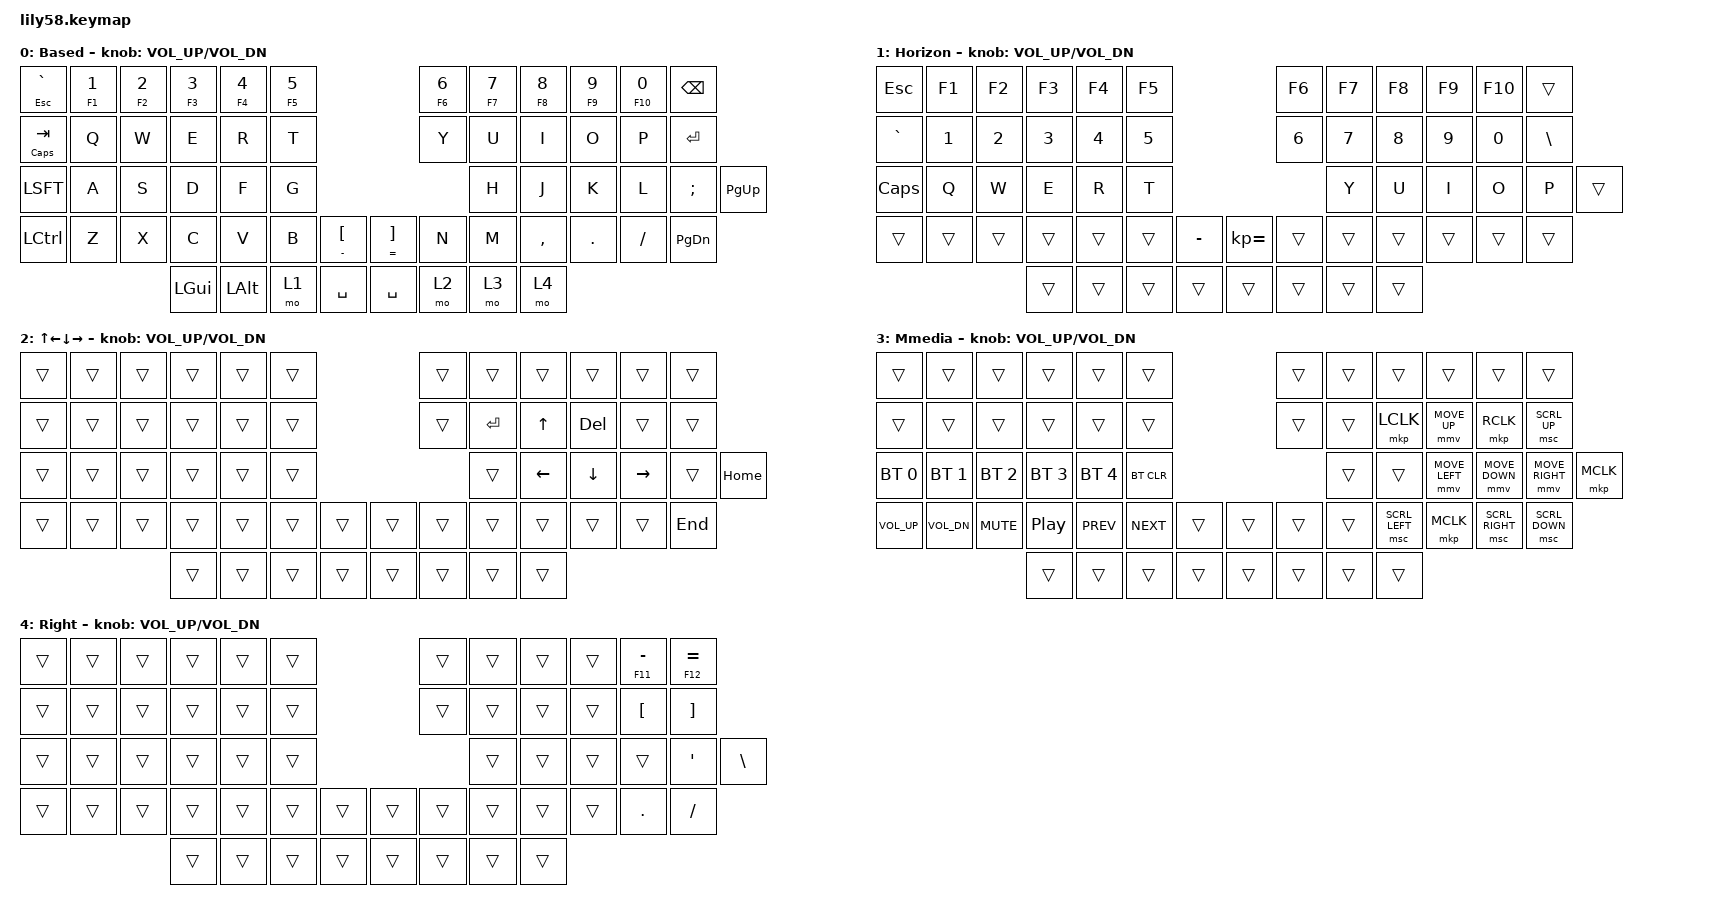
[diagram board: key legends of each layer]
/*
 * Copyright (c) 2020 The ZMK Contributors
 *
 * SPDX-License-Identifier: MIT
 */

#include <behaviors.dtsi>
#include <dt-bindings/zmk/keys.h>
#include <dt-bindings/zmk/bt.h>
#include <dt-bindings/zmk/ext_power.h>
#include <dt-bindings/zmk/pointing.h>

/ {
    behaviors {
        ht_grv_esc: hold_tap_grv_esc {
            compatible = "zmk,behavior-hold-tap";
            label = "HOLD_TAP_GRV_ESC";
            #binding-cells = <2>;
            flavor = "tap-preferred";
            tapping-term-ms = <200>;
            quick-tap-ms = <150>;
            bindings = <&kp>, <&kp>;
        };

        ht_1_f1: hold_tap_1_f1 {
            compatible = "zmk,behavior-hold-tap";
            label = "HOLD_TAP_1_F1";
            #binding-cells = <2>;
            flavor = "tap-preferred";
            tapping-term-ms = <200>;
            quick-tap-ms = <150>;
            bindings = <&kp>, <&kp>;
        };
        
        ht_2_f2: hold_tap_2_f2 {
            compatible = "zmk,behavior-hold-tap";
            label = "HOLD_TAP_2_F2";
            #binding-cells = <2>;
            flavor = "tap-preferred";
            tapping-term-ms = <200>;
            quick-tap-ms = <150>;
            bindings = <&kp>, <&kp>;
        };
        
        ht_3_f3: hold_tap_3_f3 {
            compatible = "zmk,behavior-hold-tap";
            label = "HOLD_TAP_3_F3";
            #binding-cells = <2>;
            flavor = "tap-preferred";
            tapping-term-ms = <200>;
            quick-tap-ms = <150>;
            bindings = <&kp>, <&kp>;
        };
        
        ht_4_f4: hold_tap_4_f4 {
            compatible = "zmk,behavior-hold-tap";
            label = "HOLD_TAP_4_F4";
            #binding-cells = <2>;
            flavor = "tap-preferred";
            tapping-term-ms = <200>;
            quick-tap-ms = <150>;
            bindings = <&kp>, <&kp>;
        };
        
        ht_5_f5: hold_tap_5_f5 {
            compatible = "zmk,behavior-hold-tap";
            label = "HOLD_TAP_5_F5";
            #binding-cells = <2>;
            flavor = "tap-preferred";
            tapping-term-ms = <200>;
            quick-tap-ms = <150>;
            bindings = <&kp>, <&kp>;
        };
        
        ht_6_f6: hold_tap_6_f6 {
            compatible = "zmk,behavior-hold-tap";
            label = "HOLD_TAP_6_F6";
            #binding-cells = <2>;
            flavor = "tap-preferred";
            tapping-term-ms = <200>;
            quick-tap-ms = <150>;
            bindings = <&kp>, <&kp>;
        };
        
        ht_7_f7: hold_tap_7_f7 {
            compatible = "zmk,behavior-hold-tap";
            label = "HOLD_TAP_7_F7";
            #binding-cells = <2>;
            flavor = "tap-preferred";
            tapping-term-ms = <200>;
            quick-tap-ms = <150>;
            bindings = <&kp>, <&kp>;
        };
        
        ht_8_f8: hold_tap_8_f8 {
            compatible = "zmk,behavior-hold-tap";
            label = "HOLD_TAP_8_F8";
            #binding-cells = <2>;
            flavor = "tap-preferred";
            tapping-term-ms = <200>;
            quick-tap-ms = <150>;
            bindings = <&kp>, <&kp>;
        };
        
        ht_9_f9: hold_tap_9_f9 {
            compatible = "zmk,behavior-hold-tap";
            label = "HOLD_TAP_9_F9";
            #binding-cells = <2>;
            flavor = "tap-preferred";
            tapping-term-ms = <200>;
            quick-tap-ms = <150>;
            bindings = <&kp>, <&kp>;
        };
        
        ht_0_f10: hold_tap_0_f10 {
            compatible = "zmk,behavior-hold-tap";
            label = "HOLD_TAP_0_F10";
            #binding-cells = <2>;
            flavor = "tap-preferred";
            tapping-term-ms = <200>;
            quick-tap-ms = <150>;
            bindings = <&kp>, <&kp>;
        };
        
        ht_minus_f11: hold_tap_minus_f11 {
            compatible = "zmk,behavior-hold-tap";
            label = "HOLD_TAP_MINUS_F11";
            #binding-cells = <2>;
            flavor = "tap-preferred";
            tapping-term-ms = <200>;
            quick-tap-ms = <150>;
            bindings = <&kp>, <&kp>;
        };
        
        ht_equal_f12: hold_tap_equal_f12 {
            compatible = "zmk,behavior-hold-tap";
            label = "HOLD_TAP_EQUAL_F12";
            #binding-cells = <2>;
            flavor = "tap-preferred";
            tapping-term-ms = <200>;
            quick-tap-ms = <150>;
            bindings = <&kp>, <&kp>;
        };

        ht_tab_caps: hold_tap_tab_caps {
            compatible = "zmk,behavior-hold-tap";
            label = "HOLD_TAP_TAB_CAPS";
            #binding-cells = <2>;
            flavor = "tap-preferred";
            tapping-term-ms = <200>;
            quick-tap-ms = <150>;
            bindings = <&kp>, <&kp>;
        };

        ht_lbkt_minus: hold_tap_lbkt_minus {
            compatible = "zmk,behavior-hold-tap";
            label = "HOLD_TAP_LBKT_MINUS";
            #binding-cells = <2>;
            flavor = "tap-preferred";
            tapping-term-ms = <200>;
            quick-tap-ms = <150>;
            bindings = <&kp>, <&kp>;
        };
        
        ht_rbkt_equal: hold_tap_rbkt_equal {
            compatible = "zmk,behavior-hold-tap";
            label = "HOLD_TAP_RBKT_EQUAL";
            #binding-cells = <2>;
            flavor = "tap-preferred";
            tapping-term-ms = <200>;
            quick-tap-ms = <150>;
            bindings = <&kp>, <&kp>;
        };
    };

    keymap {
        compatible = "zmk,keymap";

        default_layer {
            display-name = "Based";
            bindings = <
            // ----------------------- LEFT HAND -------------------------------||--------------------------- RIGHT HAND ---------------------------
            // | GRV/ESC  |  1/F1  |  2/F2  |  3/F3  |  4/F4  |  5/F5  |                               |  6/F6  |  7/F7  |  8/F8  |  9/F9  | 0/F10  | BACKSPACE |
               &ht_grv_esc ESCAPE GRAVE &ht_1_f1 F1 N1 &ht_2_f2 F2 N2 &ht_3_f3 F3 N3 &ht_4_f4 F4 N4 &ht_5_f5 F5 N5                   &ht_6_f6 F6 N6 &ht_7_f7 F7 N7 &ht_8_f8 F8 N8 &ht_9_f9 F9 N9 &ht_0_f10 F10 N0 &kp BSPC

            // | TAB/CAPS |   Q    |   W    |   E    |   R    |   T    |                               |   Y    |   U    |   I    |   O    |   P    |   ENTER   |
               &ht_tab_caps CAPS TAB &kp Q  &kp W    &kp E    &kp R    &kp T                           &kp Y    &kp U    &kp I    &kp O    &kp P    &kp RET
        
            // |  SHIFT   |   A    |   S    |   D    |   F    |   G    |                               |   H    |   J    |   K    |   L    |   ;    |   PG_UP   |  
               &kp LSFT   &kp A    &kp S    &kp D    &kp F    &kp G                                   &kp H    &kp J    &kp K    &kp L    &kp SEMI &kp PG_UP
        
            // |  CTRL    |   Z    |   X    |   C    |   V    |   B    |  [/-   |  ]/=   |            |   N    |   M    |   ,    |   .    |   /    |  PG_DN    |
               &kp LCTRL  &kp Z    &kp X    &kp C    &kp V    &kp B    &ht_lbkt_minus MINUS LBKT &ht_rbkt_equal EQUAL RBKT &kp N    &kp M    &kp COMMA &kp DOT &kp FSLH &kp PG_DN
        
            //                            |  LGUI  |  ALT   | HIGH   | SPACE  |     | SPACE  | RIGHT  | LAYER3 | MMEDIA |
                                         &kp LGUI &kp LALT &mo 1    &kp SPACE     &kp SPACE  &mo 2    &mo 3  &mo 4
            >;

            sensor-bindings = <&inc_dec_kp C_VOL_UP C_VOL_DN>;
        };

        layer_1 {
            display-name = "Horizon";
            bindings = <
               // ----------------------- LEFT HAND -------------------------------||--------------------------- RIGHT HAND ---------------------------
               // | ESCAPE   |   F1   |   F2   |   F3   |   F4   |   F5   |                               |   F6   |   F7   |   F8   |   F9   |   F10  |  TRANS    |
                  &kp ESCAPE &kp F1   &kp F2   &kp F3   &kp F4   &kp F5                                   &kp F6   &kp F7   &kp F8   &kp F9   &kp F10  &trans

            // | GRAVE   |   1    |   2    |   3    |   4    |   5    |                               |   6    |   7    |   8    |   9    |   0    |    \      |
               &kp GRAVE &kp N1   &kp N2   &kp N3   &kp N4   &kp N5                                   &kp N6   &kp N7   &kp N8   &kp N9   &kp N0   &kp BSLH

            // |  CAPS    |   Q    |   W    |   E    |   R    |   T    |                               |   Y    |   U    |   I    |   O    |   P    |  TRANS    |
               &kp CAPS   &kp Q    &kp W    &kp E    &kp R    &kp T                                    &kp Y    &kp U    &kp I    &kp O    &kp P   &trans

            // |  TRANS    |  TRANS   | TRANS  | TRANS  | TRANS  | TRANS  |   -    |   =    |            | TRANS  |  TRANS  |  TRANS  |   TRANS   | TRANS  |  TRANS    |
               &trans   &trans  &trans   &trans   &trans   &trans   &kp MINUS &kp KP_EQUAL           &trans   &trans  &trans  &trans  &trans  &trans

            //                              | TRANS  | TRANS  | TRANS  | TRANS  |     | TRANS  | TRANS  | TRANS  | TRANS  |
                                           &trans   &trans   &trans   &trans         &trans   &trans   &trans   &trans
            >;

            sensor-bindings = <&inc_dec_kp C_VOL_UP C_VOL_DN>;
        };

        layer_2 {
            display-name = "↑←↓→";
            bindings = <
            // ----------------------- LEFT HAND -------------------------------||--------------------------- RIGHT HAND ---------------------------
            // |  TRANS   | TRANS  | TRANS  | TRANS  | TRANS  | TRANS  |                               | TRANS  | TRANS  | TRANS  | TRANS  | TRANS  |  TRANS    |
               &trans    &trans   &trans   &trans   &trans   &trans                                    &trans   &trans   &trans   &trans   &trans   &trans

            // |  TRANS   | TRANS  | TRANS  | TRANS  | TRANS  | TRANS  |                               | TRANS  | ENTER  | UP  | DEL | TRANS |  TRANS    |
               &trans    &trans   &trans   &trans   &trans   &trans                                    &trans   &kp RET   &kp UP   &kp DEL   &trans   &trans

            // |  TRANS   | TRANS  | TRANS  | TRANS  | TRANS  | TRANS  |                               | TRANS  | LEFT  | DOWN  | RIGHT  |  TRANS   | HOME   |
               &trans    &trans   &trans   &trans   &trans   &trans                                    &trans   &kp LEFT   &kp DOWN   &kp RIGHT   &trans   &kp HOME

            // |  TRANS   | TRANS  | TRANS  | TRANS  | TRANS  | TRANS  | TRANS  | TRANS  |            | TRANS  | TRANS  | TRANS  | TRANS  | TRANS  |  END    |
               &trans    &trans   &trans   &trans   &trans   &trans   &trans   &trans                &trans   &trans   &trans   &trans   &trans   &kp END

            //                            | TRANS  | TRANS  | TRANS  | TRANS  |     | TRANS  | TRANS  | TRANS  | TRANS  |
                                         &trans   &trans   &trans   &trans         &trans   &trans   &trans   &trans
            >;

            sensor-bindings = <&inc_dec_kp C_VOL_UP C_VOL_DN>;
        };

        layer_3 {
            display-name = "Mmedia";
            bindings = <
            // ----------------------- LEFT HAND -------------------------------||--------------------------- RIGHT HAND ---------------------------
            // |  TRANS   | TRANS  | TRANS  | TRANS  | TRANS  | TRANS  |                               | TRANS  | TRANS  | TRANS  | TRANS  | TRANS  |  TRANS    |
               &trans    &trans   &trans   &trans   &trans   &trans                                    &trans   &trans   &trans   &trans   &trans   &trans

            // |  TRANS   | TRANS  | TRANS  | TRANS  | TRANS  | TRANS  |                               | TRANS  | TRANS  | LEFT CLICK  | MMOVE UP  | RIGHT CLICK  |  SCROLL UP    |
               &trans    &trans   &trans   &trans   &trans   &trans                                    &trans   &trans   &mkp LCLK   &mmv MOVE_UP   &mkp RCLK   &msc SCRL_UP

            // |   BT1    |  BT2   |  BT3   |  BT4   |  BT5   | BTCLR  |                               | TRANS  | TRANS  | MOVE LEFT  | MOVE DOWN  | MOVE RIGHT  |  MIDDLE CLICK    |
               &bt BT_SEL 0 &bt BT_SEL 1 &bt BT_SEL 2 &bt BT_SEL 3 &bt BT_SEL 4 &bt BT_CLR          &trans   &trans   &mmv MOVE_LEFT   &mmv MOVE_DOWN   &mmv MOVE_RIGHT   &mkp MCLK

            // |  VOL_UP  | VOL_DN | MUTE   |PLY/PAUS| PREV   | NEXT   | TRANS  | TRANS  |            | TRANS  | TRANS  | SCROLL LEFT  | MIDDLE CLICK  | SCROLL RIGHT  |  SCROLL DOWN    |
               &kp C_VOL_UP &kp C_VOL_DN &kp C_MUTE &kp C_PLAY_PAUSE &kp C_PREV &kp C_NEXT &trans &trans &trans   &trans   &msc SCRL_LEFT   &mkp MCLK   &msc SCRL_RIGHT   &msc SCRL_DOWN

            //                            | TRANS  | TRANS  | TRANS  | TRANS  |     | TRANS  | TRANS  | TRANS  | TRANS  |
                                         &trans   &trans   &trans   &trans         &trans   &trans   &trans   &trans
            >;

            sensor-bindings = <&inc_dec_kp C_VOL_UP C_VOL_DN>;
        };

        layer_4 {
            display-name = "Right";
            bindings = <
            // ----------------------- LEFT HAND -------------------------------||--------------------------- RIGHT HAND ---------------------------
            // |  TRANS   | TRANS  | TRANS  | TRANS  | TRANS  | TRANS  |                               | TRANS  | TRANS  | TRANS  | TRANS  |   -/F11   |    =/F12      |
               &trans    &trans   &trans   &trans   &trans   &trans                                     &trans   &trans   &trans   &trans   &ht_minus_f11 F11 MINUS &ht_equal_f12 F12 EQUAL

            // |  TRANS   | TRANS  | TRANS  | TRANS  | TRANS  | TRANS  |                               | TRANS  | TRANS  | TRANS  | TRANS  |   [    |    ]      |
               &trans    &trans   &trans   &trans   &trans   &trans                                     &trans   &trans   &trans   &trans   &kp LBKT &kp RBKT

            // |  TRANS   | TRANS  | TRANS  | TRANS  | TRANS  | TRANS  |                               | TRANS  | TRANS  | TRANS  | TRANS  |   '    |    \      |
               &trans    &trans   &trans   &trans   &trans   &trans                                     &trans   &trans   &trans   &trans   &kp SQT  &kp BSLH

            // |  TRANS   | TRANS  | TRANS  | TRANS  | TRANS  | TRANS  | TRANS  | TRANS  |            | TRANS  | TRANS  | TRANS  | TRANS  |   .    |    /      |
               &trans    &trans   &trans   &trans   &trans   &trans   &trans   &trans                &trans   &trans   &trans   &trans   &kp DOT  &kp FSLH

            //                            | TRANS  | TRANS  | TRANS  | TRANS  |     | TRANS  | TRANS  | TRANS  | TRANS  |
                                         &trans   &trans   &trans   &trans         &trans   &trans   &trans   &trans
            >;

            sensor-bindings = <&inc_dec_kp C_VOL_UP C_VOL_DN>;
        };

        extra_3 {
            status = "reserved";
        };
    };
};
